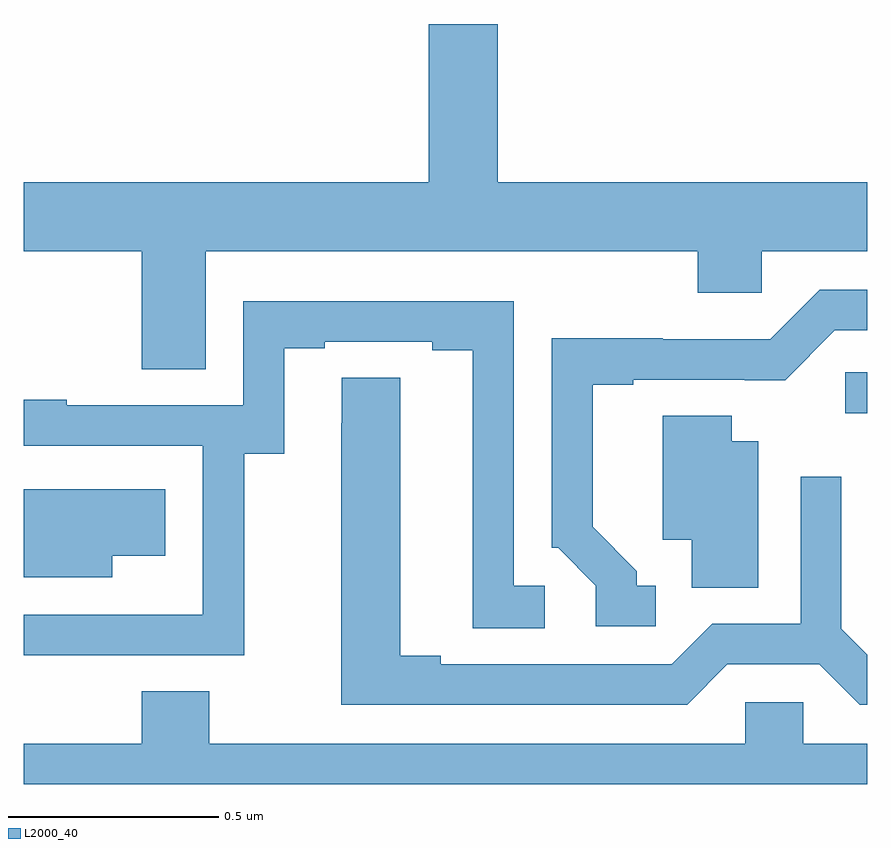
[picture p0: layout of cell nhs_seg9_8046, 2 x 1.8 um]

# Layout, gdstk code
import gdstk
lib = gdstk.Library(unit=1e-6, precision=1e-09)
def R(c, l, rs):  # rectangles x0, y0, x1, y1
    for r in rs: c.add(gdstk.rectangle(r[:2], r[2:], *l))
def P(c, l, *ps):  # polygons
    for p in ps: c.add(gdstk.Polygon(p, *l))
L2000_40 = (2000, 40)

nhs_seg9_8046 = lib.new_cell('nhs_seg9_8046')
R(nhs_seg9_8046, L2000_40, [(213.948,1185.38,214,1185.477)])
P(nhs_seg9_8046, L2000_40, [(212.431,1185.764),(213.599,1185.764),(213.599,1185.666),(213.75,1185.666),(213.75,1185.764),(214,1185.764),(214,1185.928),(213.124,1185.928),(213.124,1186.303),(212.96,1186.303),(212.96,1185.928),(212,1185.928),(212,1185.764),(212.279,1185.764),(212.279,1185.484),(212.431,1185.484)],
  [(213.499,1184.97),(213.454,1184.97),(213.454,1185.005),(213.349,1185.11),(213.349,1185.447),(213.445,1185.447),(213.445,1185.459),(213.71,1185.459),(213.71,1185.458),(213.806,1185.458),(213.924,1185.576),(214,1185.576),(214,1185.672),(213.888,1185.672),(213.771,1185.555),(213.515,1185.555),(213.515,1185.557),(213.252,1185.557),(213.252,1185.06),(213.267,1185.06),(213.357,1184.97),(213.357,1184.874),(213.499,1184.874)],
  [(212.523,1185.283),(212.617,1185.283),(212.617,1185.534),(212.713,1185.534),(212.713,1185.549),(212.969,1185.549),(212.969,1185.529),(213.065,1185.529),(213.065,1184.869),(213.235,1184.869),(213.235,1184.97),(213.162,1184.97),(213.162,1185.645),(212.52,1185.645),(212.52,1185.399),(212.101,1185.399),(212.101,1185.412),(212,1185.412),(212,1185.303),(212.424,1185.303),(212.424,1184.902),(212.423,1184.902),(212.423,1184.901),(212,1184.901),(212,1184.805),(212.523,1184.805)],
  [(213.669,1184.784),(213.887,1184.784),(213.983,1184.688),(214,1184.688),(214,1184.807),(213.939,1184.868),(213.939,1185.229),(213.843,1185.229),(213.843,1184.88),(213.633,1184.88),(213.537,1184.784),(212.989,1184.784),(212.989,1184.804),(212.893,1184.804),(212.893,1185.464),(212.754,1185.464),(212.754,1185.356),(212.753,1185.356),(212.753,1184.688),(213.573,1184.688)],
  [(213.742,1185.313),(213.679,1185.313),(213.679,1185.374),(213.515,1185.374),(213.515,1185.08),(213.584,1185.08),(213.584,1184.965),(213.742,1184.965)],
  [(212.209,1185.041),(212.335,1185.041),(212.335,1185.199),(212,1185.199),(212,1184.99),(212.209,1184.99)],
  [(214,1184.596),(213.849,1184.596),(213.849,1184.694),(213.711,1184.694),(213.711,1184.596),(212.439,1184.596),(212.439,1184.72),(212.279,1184.72),(212.279,1184.596),(212,1184.596),(212,1184.5),(214,1184.5)])

lib.write_gds('nhs_seg9_8046.gds')
